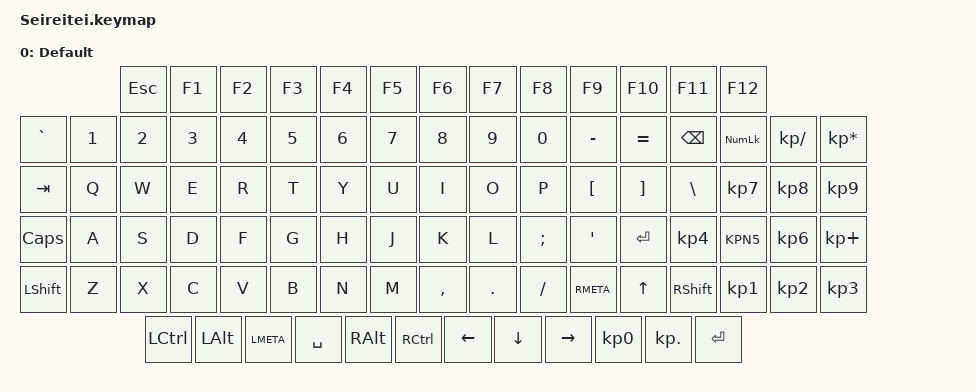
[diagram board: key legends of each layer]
/*
 * Copyright (c) 2020 The ZMK Contributors
 *
 * SPDX-License-Identifier: MIT
 */

#include <behaviors.dtsi>
#include <dt-bindings/zmk/keys.h>
#include <dt-bindings/zmk/bt.h>

/ {

	keymap {
		compatible = "zmk,keymap";
        
        //  = custom layer button
        // Below symbols based on mac keyboards
        // ⌃ = ctrl
        // ⌥ = option/alt
        // ⌘ = command/super 
        // וּ = shift
        // ---------------------------------------------------------------------------------------------
        //|| ESC |   | F1 | F2 | F3 | F4 |   | F5 | F6 | F7 | F8 |   | F9 | F10 | F11 | F12 |          |
        //|                                                                                            |
        //|| ~ | 1 | 2 | 3 | 4 | 5 | 6 | 7 | 8 | 9 | 0 | - | = | bkspc |    | n | / | * | - |          |
        //|| tab | Q | W | E | R | T | Y | U | I | O | P | [ | ] |  \  |    | 7 | 8 | 9 |---|          |
        //|| capl | A | S | D | F | G | H | J | K | L | ; | ' | Enter  |    | 4 | 5 | 6 | + |          |
        //|| shift | Z | X | C | V | B | N | M | , | . | / |  |  | וּ |    | 1 | 2 | 3 |---|          |
        //|| ⌃ | ⌥ |  ⌘  |      space              | ⌥ | ⌃ |  |  |  |    |   0   | . |  |          |
        // ---------------------------------------------------------------------------------------------
		default_layer {
			label = "Default";

			bindings = <
                &kp ESC     &kp F1 &kp F2 &kp F3 &kp F4     &kp F5 &kp F6 &kp F7 &kp F8      &kp F9 &kp F10 &kp F11 &kp F12
                &kp GRAVE &kp N1 &kp N2 &kp N3 &kp N4 &kp N5 &kp N6 &kp N7 &kp N8 &kp N9 &kp N0 &kp MINUS &kp EQL &kp BACKSPACE     &kp KP_NUM &kp KP_DIVIDE &kp KP_MULTIPLY
                &kp TAB &kp Q &kp W &kp E &kp R &kp T &kp Y &kp U &kp I &kp O &kp P &kp LBKT &kp RBKT &kp BSLH                      &kp KP_N7  &kp KP_N8 &kp KP_N9
                &kp CAPS &kp A &kp S &kp D &kp F &kp G &kp H &kp J &kp K &kp L &kp SEMI &kp SQT &kp RETURN                          &kp KP_N4  &kp KPN5  &kp KP_N6 &kp KP_PLUS
                &kp LSHIFT &kp Z &kp X &kp C &kp V &kp B &kp N &kp M &kp COMMA &kp PERIOD &kp FSLH &kp RMETA &kp UP &kp RSHIFT      &kp KP_N1  &kp KP_N2 &kp KP_N3
                &kp LCTRL &kp LALT &kp LMETA        &kp SPACE       &kp RALT &kp RCTRL &kp LEFT &kp DOWN &kp RIGHT                  &kp KP_N0  &kp KP_DOT &kp RETURN
			>;
		};
	};
};
